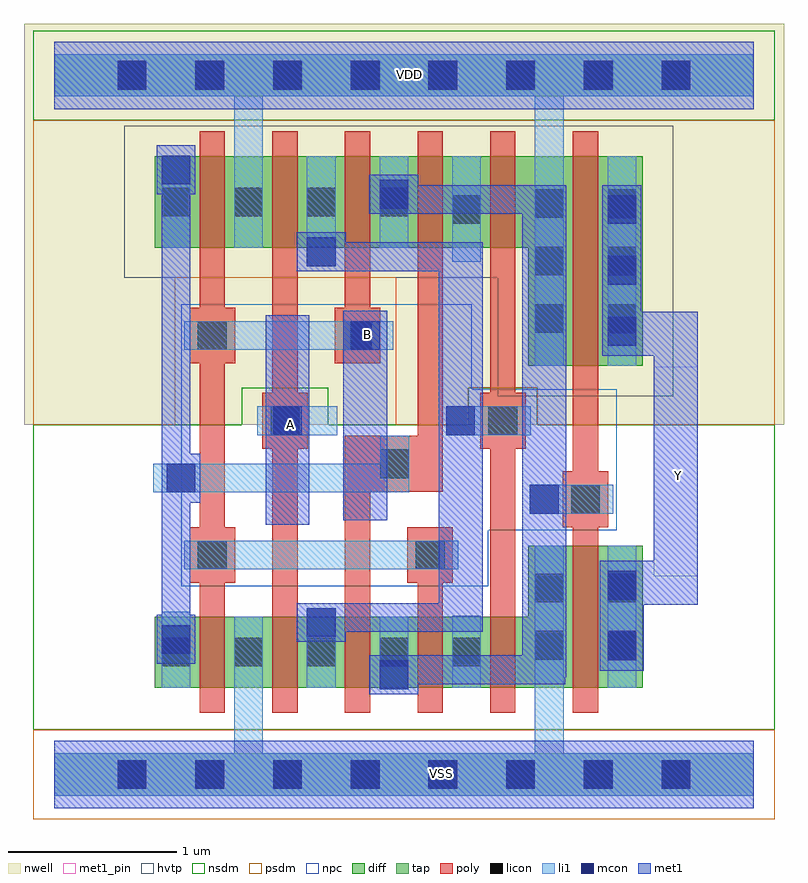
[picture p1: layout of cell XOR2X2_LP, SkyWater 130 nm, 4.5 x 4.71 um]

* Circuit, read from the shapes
.subckt XOR2X2_LP A B VDD VSS Y
XM1 VSS B n1 VSS sky130_fd_pr__nfet_01v8 w=0.42 l=0.15
XM2 n2 A VSS VSS sky130_fd_pr__nfet_01v8 w=0.42 l=0.15
XM3 n3 n1 n2 VSS sky130_fd_pr__nfet_01v8 w=0.42 l=0.15
XM4 n4 B n3 VSS sky130_fd_pr__nfet_01v8 w=0.42 l=0.15
XM5 VSS n2 n4 VSS sky130_fd_pr__nfet_01v8 w=0.42 l=0.15
XM6 Y n3 VSS VSS sky130_fd_pr__nfet_01v8 w=0.84 l=0.15
XM7 VDD B n1 VDD sky130_fd_pr__pfet_01v8_hvt w=0.54 l=0.15
XM8 n2 A VDD VDD sky130_fd_pr__pfet_01v8_hvt w=0.54 l=0.15
XM9 n3 B n2 VDD sky130_fd_pr__pfet_01v8_hvt w=0.54 l=0.15
XM10 n5 n1 n3 VDD sky130_fd_pr__pfet_01v8_hvt w=0.54 l=0.15
XM11 VDD n2 n5 VDD sky130_fd_pr__pfet_01v8_hvt w=0.54 l=0.15
XM12 Y n3 VDD VDD sky130_fd_pr__pfet_01v8_hvt w=1.24 l=0.15
.ends

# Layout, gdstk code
from math import pi, radians
import gdstk
lib = gdstk.Library(unit=1e-6, precision=1e-09)
def R(c, l, rs):  # rectangles x0, y0, x1, y1
    for r in rs: c.add(gdstk.rectangle(r[:2], r[2:], *l))
def A(c, l, x, y, w, h, nx, ny, dx, dy):  # array of equal rectangles
    R(c, l, [(x+i*dx, y+j*dy, x+i*dx+w, y+j*dy+h) for i in range(nx) for j in range(ny)])
def P(c, l, *ps):  # polygons
    for p in ps: c.add(gdstk.Polygon(p, *l))
nwell = (64, 20)
diff = (65, 20)
tap = (65, 44)
poly = (66, 20)
licon = (66, 44)
li1 = (67, 20)
mcon = (67, 44)
met1_pin = (68, 16)
met1 = (68, 20)
hvtp = (78, 44)
nsdm = (93, 44)
psdm = (94, 20)
npc = (95, 20)

l1m1_c_cdns_758729379658 = lib.new_cell('L1M1_C_CDNS_758729379658')
R(l1m1_c_cdns_758729379658, li1, [(-0.085,-0.165,0.085,0.085)])
R(l1m1_c_cdns_758729379658, mcon, [(-0.085,-0.085,0.085,0.085)])
R(l1m1_c_cdns_758729379658, met1, [(-0.115,-0.145,0.115,0.145)])

l1m1_c_cdns_758729379659 = lib.new_cell('L1M1_C_CDNS_758729379659')
R(l1m1_c_cdns_758729379659, li1, [(-0.085,-0.345,0.085,0.345)])
R(l1m1_c_cdns_758729379659, mcon, [(-0.085,-0.265,0.085,-0.095), (-0.085,0.095,0.085,0.265)])
R(l1m1_c_cdns_758729379659, met1, [(-0.115,-0.325,0.115,0.325)])

l1m1_c_cdns_758729379655 = lib.new_cell('L1M1_C_CDNS_758729379655')
R(l1m1_c_cdns_758729379655, li1, [(-0.085,-0.165,0.085,0.165)])
R(l1m1_c_cdns_758729379655, mcon, [(-0.085,-0.085,0.085,0.085)])
R(l1m1_c_cdns_758729379655, met1, [(-0.115,-0.145,0.115,0.145)])

pyl1con_c_cdns_758729379 = lib.new_cell('PYL1CON_C_CDNS_758729379653')
R(pyl1con_c_cdns_758729379, poly, [(-0.135,-0.165,0.135,0.165)])
R(pyl1con_c_cdns_758729379, licon, [(-0.085,-0.085,0.085,0.085)])
R(pyl1con_c_cdns_758729379, npc, [(-0.185,-0.185,0.185,0.185)])

l1m1_c_cdns_758729379654 = lib.new_cell('L1M1_C_CDNS_758729379654')
R(l1m1_c_cdns_758729379654, li1, [(-0.165,-0.085,0.165,0.085)])
R(l1m1_c_cdns_758729379654, mcon, [(-0.085,-0.085,0.085,0.085)])
R(l1m1_c_cdns_758729379654, met1, [(-0.115,-0.145,0.115,0.145)])

l1m1_c_cdns_758729379656 = lib.new_cell('L1M1_C_CDNS_758729379656')
R(l1m1_c_cdns_758729379656, li1, [(-0.085,-0.085,0.085,0.085)])
R(l1m1_c_cdns_758729379656, mcon, [(-0.085,-0.085,0.085,0.085)])
R(l1m1_c_cdns_758729379656, met1, [(-0.145,-0.115,0.145,0.115)])

licondiff_c_cdns_7587293 = lib.new_cell('LICONDIFF_C_CDNS_758729379657')
R(licondiff_c_cdns_7587293, diff, [(-0.125,-0.145,0.125,0.145)])
R(licondiff_c_cdns_7587293, licon, [(-0.085,-0.085,0.085,0.085), (-0.085,-0.085,0.085,0.085)])

l1m1_c_cdns_758729379651 = lib.new_cell('L1M1_C_CDNS_7587293796510')
R(l1m1_c_cdns_758729379651, li1, [(-0.085,-0.525,0.085,0.525)])
A(l1m1_c_cdns_758729379651, mcon, -0.085, -0.445, 0.17, 0.17, 1, 3, 0, 0.36)
R(l1m1_c_cdns_758729379651, met1, [(-0.115,-0.505,0.115,0.505)])

c_l1m1_c_cdns_758729379651 = lib.new_cell('L1M1_C_CDNS_7587293796511')
R(c_l1m1_c_cdns_758729379651, li1, [(-0.085,-0.165,0.085,0.085)])
R(c_l1m1_c_cdns_758729379651, mcon, [(-0.085,-0.085,0.085,0.085)])
R(c_l1m1_c_cdns_758729379651, met1, [(-0.115,-0.13,0.115,0.13)])

xor2x2_lp = lib.new_cell('XOR2X2_LP')
R(xor2x2_lp, nwell, [(-0.18,2.07,4.32,4.445)])
P(xor2x2_lp, diff, [(3.485,3.66),(0.595,3.66),(0.595,3.12),(2.805,3.12),(2.805,2.42),(3.485,2.42)],
  [(3.485,1.355),(2.805,1.355),(2.805,0.935),(0.595,0.935),(0.595,0.515),(3.485,0.515)])
R(xor2x2_lp, poly, [(0.86,0.365,1.01,3.81), (1.29,0.365,1.44,3.81), (2.15,0.365,2.3,1.34), (2.58,0.365,2.73,3.81), (3.07,0.365,3.22,3.81), (1.72,2.6,1.87,3.81)])
P(xor2x2_lp, poly, [(2.3,3.81),(2.15,3.81),(2.15,2.005),(1.72,2.005),(1.72,0.365),(1.87,0.365),(1.87,1.675),(2.3,1.675)])
A(xor2x2_lp, licon, 0.375, -0.085, 0.17, 0.17, 8, 2, 0.46, 4.14)
A(xor2x2_lp, licon, 0.635, 0.64, 0.17, 0.17, 4, 2, 0.43, 2.665)
A(xor2x2_lp, licon, 2.845, 2.615, 0.17, 0.17, 1, 3, 0, 0.34)
A(xor2x2_lp, licon, 3.275, 2.615, 0.17, 0.17, 1, 3, 0, 0.34)
R(xor2x2_lp, licon, [(2.845,0.68,3.015,0.85), (3.275,0.68,3.445,0.85), (2.845,1.02,3.015,1.19), (3.275,1.02,3.445,1.19)])
R(xor2x2_lp, li1, [(0.635,0.515,0.805,0.935), (1.495,0.515,1.665,0.935), (1.925,0.515,2.095,0.935), (3.275,0.515,3.445,1.355), (3.275,2.42,3.445,3.66), (0.635,3.12,0.805,3.66), (1.495,3.12,1.665,3.66), (1.925,3.12,2.095,3.66)])
P(xor2x2_lp, li1, [(2.1,2.005),(1.93,2.005),(1.93,1.84),(0.71,1.84),(0.71,1.67),(2.1,1.67)],
  [(4.14,4.265),(0,4.265),(0,4.015),(1.065,4.015),(1.065,3.12),(1.235,3.12),(1.235,4.015),(2.845,4.015),(2.845,2.42),(3.015,2.42),(3.015,4.015),(4.14,4.015)],
  [(4.14,0.125),(3.015,0.125),(3.015,1.355),(2.845,1.355),(2.845,0.125),(1.235,0.125),(1.235,0.935),(1.065,0.935),(1.065,0.125),(0,0.125),(0,-0.125),(4.14,-0.125)])
A(xor2x2_lp, mcon, 0.375, -0.085, 0.17, 0.17, 8, 2, 0.46, 4.14)
R(xor2x2_lp, met1_pin, [(3.55,1.175,3.81,2.415), (1.25,1.48,1.51,2.72), (1.71,1.505,1.97,2.745)])
P(xor2x2_lp, met1, [(2.535,3.15),(1.435,3.15),(1.435,2.98),(2.275,2.98),(2.275,1.015),(1.58,1.015),(1.58,0.845),(2.535,0.845)],
  [(3.03,3.49),(1.865,3.49),(1.865,3.32),(2.77,3.32),(2.77,0.705),(1.865,0.705),(1.865,0.535),(3.025,0.535),(3.025,0.575),(3.03,0.575)],
  [(3.81,2.74),(3.36,2.74),(3.36,2.48),(3.55,2.48),(3.55,1.265),(3.23,1.265),(3.23,0.615),(3.49,0.615),(3.49,1.005),(3.81,1.005)])
P(xor2x2_lp, hvtp, [(3.665,3.84),(0.415,3.84),(0.415,2.94),(2.625,2.94),(2.625,2.24),(3.665,2.24)])
R(xor2x2_lp, nsdm, [(-0.125,3.875,4.265,4.405)])
P(xor2x2_lp, nsdm, [(4.265,2.07),(2.86,2.07),(2.86,2.29),(2.45,2.29),(2.45,2.07),(1.62,2.07),(1.62,2.29),(1.11,2.29),(1.11,2.07),(-0.125,2.07),(-0.125,0.265),(4.265,0.265)])
R(xor2x2_lp, psdm, [(-0.125,-0.265,4.265,0.265)])
P(xor2x2_lp, psdm, [(4.265,3.875),(-0.125,3.875),(-0.125,2.07),(0.715,2.07),(0.715,2.94),(2.02,2.94),(2.02,2.07),(2.45,2.07),(2.45,2.29),(2.86,2.29),(2.86,2.07),(4.265,2.07)])
P(xor2x2_lp, npc, [(3.33,2.28),(2.47,2.28),(2.47,2.785),(0.75,2.785),(0.75,1.115),(2.57,1.115),(2.57,1.445),(3.33,1.445)])
xor2x2_lp.add(gdstk.FlexPath([(2.895,1.63),(3.31,1.63)], 0.17, ends="flush", simple_path=True, layer=67, datatype=20))  # li1
xor2x2_lp.add(gdstk.FlexPath([(1.675,2.095),(1.2,2.095)], 0.17, ends="flush", simple_path=True, layer=67, datatype=20))  # li1
xor2x2_lp.add(gdstk.FlexPath([(0.77,2.6),(1.96,2.6)], 0.17, ends="flush", simple_path=True, layer=67, datatype=20))  # li1
xor2x2_lp.add(gdstk.FlexPath([(0.77,1.3),(2.39,1.3)], 0.17, ends="flush", simple_path=True, layer=67, datatype=20))  # li1
xor2x2_lp.add(gdstk.FlexPath([(2.405,2.095),(2.82,2.095)], 0.17, ends="flush", simple_path=True, layer=67, datatype=20))  # li1
xor2x2_lp.add(gdstk.FlexPath([(2.44,3.035),(2.44,3.66)], 0.17, ends="flush", simple_path=True, layer=67, datatype=20))  # li1
xor2x2_lp.add(gdstk.FlexPath([(2.44,0.515),(2.44,0.94)], 0.17, ends="flush", simple_path=True, layer=67, datatype=20))  # li1
xor2x2_lp.add(gdstk.FlexPath([(0,0),(4.14,0)], 0.4, ends="flush", simple_path=True, layer=68, datatype=16))  # met1_pin
xor2x2_lp.add(gdstk.FlexPath([(0,4.14),(4.14,4.14)], 0.4, ends="flush", simple_path=True, layer=68, datatype=16))  # met1_pin
xor2x2_lp.add(gdstk.FlexPath([(0,4.14),(4.14,4.14)], 0.25, ends="flush", simple_path=True, layer=65, datatype=44))  # tap
xor2x2_lp.add(gdstk.FlexPath([(0,0),(4.14,0)], 0.25, ends="flush", simple_path=True, layer=65, datatype=44))  # tap
xor2x2_lp.add(gdstk.FlexPath([(0,4.14),(4.14,4.14)], 0.4, ends="flush", simple_path=True, layer=68, datatype=20))  # met1
xor2x2_lp.add(gdstk.FlexPath([(0,0),(4.14,0)], 0.4, ends="flush", simple_path=True, layer=68, datatype=20))  # met1
xor2x2_lp.add(gdstk.FlexPath([(0.72,0.655),(0.72,3.725)], 0.17, ends="flush", simple_path=True, layer=68, datatype=20))  # met1
xor2x2_lp.add(gdstk.FlexPath([(1.38,1.48),(1.38,2.72)], 0.26, ends="flush", simple_path=True, layer=68, datatype=20))  # met1
xor2x2_lp.add(gdstk.FlexPath([(1.84,1.505),(1.84,2.745)], 0.26, ends="flush", simple_path=True, layer=68, datatype=20))  # met1
xor2x2_lp.add(gdstk.Reference(l1m1_c_cdns_758729379658, (0.72,3.58)))
xor2x2_lp.add(gdstk.Reference(l1m1_c_cdns_758729379659, (3.36,0.94)))
xor2x2_lp.add(gdstk.Reference(l1m1_c_cdns_758729379655, (0.72,0.8)))
xor2x2_lp.add(gdstk.Reference(pyl1con_c_cdns_758729379, (3.145,1.63), rotation=pi))
xor2x2_lp.add(gdstk.Reference(pyl1con_c_cdns_758729379, (2.655,2.095), rotation=pi))
xor2x2_lp.add(gdstk.Reference(pyl1con_c_cdns_758729379, (1.365,2.095), rotation=pi))
xor2x2_lp.add(gdstk.Reference(pyl1con_c_cdns_758729379, (1.795,2.6), rotation=pi))
xor2x2_lp.add(gdstk.Reference(pyl1con_c_cdns_758729379, (0.935,2.6), rotation=pi))
xor2x2_lp.add(gdstk.Reference(pyl1con_c_cdns_758729379, (2.015,1.84), rotation=pi))
xor2x2_lp.add(gdstk.Reference(pyl1con_c_cdns_758729379, (2.225,1.3), rotation=pi))
xor2x2_lp.add(gdstk.Reference(pyl1con_c_cdns_758729379, (0.935,1.3), rotation=pi))
xor2x2_lp.add(gdstk.Reference(l1m1_c_cdns_758729379654, (1.84,2.6), x_reflection=True))
xor2x2_lp.add(gdstk.Reference(l1m1_c_cdns_758729379654, (1.38,2.095), x_reflection=True))
xor2x2_lp.add(gdstk.Reference(l1m1_c_cdns_758729379654, (0.75,1.755), rotation=pi, x_reflection=True))
xor2x2_lp.add(gdstk.Reference(l1m1_c_cdns_758729379656, (2.01,3.435), rotation=pi))
xor2x2_lp.add(gdstk.Reference(l1m1_c_cdns_758729379656, (1.58,0.9), rotation=pi))
xor2x2_lp.add(gdstk.Reference(l1m1_c_cdns_758729379656, (2.01,0.59), rotation=pi))
xor2x2_lp.add(gdstk.Reference(l1m1_c_cdns_758729379656, (1.58,3.095), rotation=pi))
xor2x2_lp.add(gdstk.Reference(licondiff_c_cdns_7587293, (2.44,0.725)))
xor2x2_lp.add(gdstk.Reference(licondiff_c_cdns_7587293, (2.44,3.345)))
xor2x2_lp.add(gdstk.Reference(l1m1_c_cdns_758729379651, (3.36,2.985)))
xor2x2_lp.add(gdstk.Reference(c_l1m1_c_cdns_758729379651, (2.405,2.095), rotation=pi/2))
xor2x2_lp.add(gdstk.Reference(c_l1m1_c_cdns_758729379651, (2.9,1.63), rotation=pi/2))
xor2x2_lp.add(gdstk.Label('VDD', (2.1,4.145), layer=68, texttype=5))
xor2x2_lp.add(gdstk.Label('B', (1.855,2.605), layer=68, texttype=5))
xor2x2_lp.add(gdstk.Label('Y', (3.695,1.77), layer=68, texttype=5))
xor2x2_lp.add(gdstk.Label('A', (1.395,2.075), layer=68, texttype=5))
xor2x2_lp.add(gdstk.Label('VSS', (2.29,0.005), layer=68, texttype=5))

lib.write_gds('XOR2X2_LP.gds')
